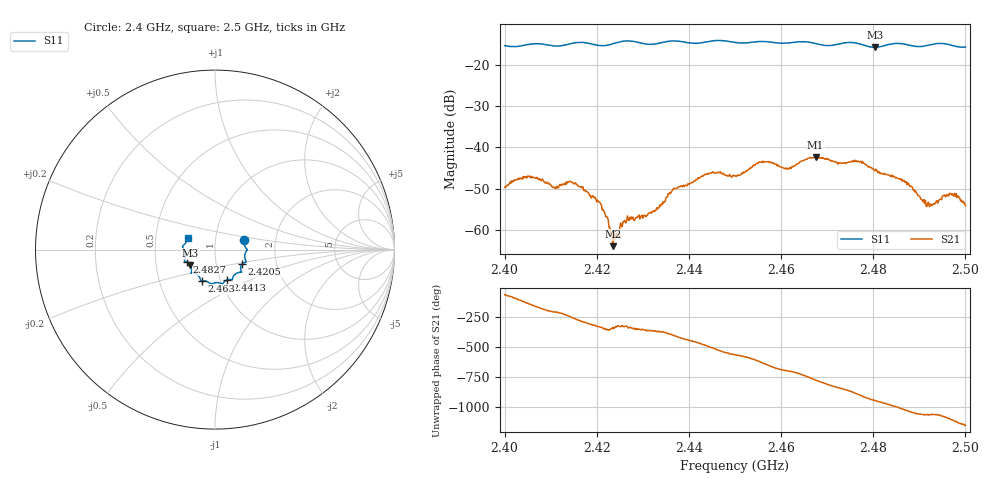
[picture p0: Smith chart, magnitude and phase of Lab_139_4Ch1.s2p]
# Hz S RI R 50
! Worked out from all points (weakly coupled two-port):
!   601 points, 2.4 GHz to 2.5 GHz, reference 50 ohm
!   highest |S21| = -42.30 dB at 2.4675 GHz (marker M1); lowest = -63.9 dB at 2.4235 GHz (marker M2)
!   lowest |S11| = -15.7 dB at 2.4803 GHz (marker M3), VSWR 1.39, Z = 37.4 - j6.8 ohm
!   |S11| at or under -10 dB: start of sweep to end of sweep
!   S12 and S22 are empty: the file has one direction only
!   S11 on the Smith chart (normalised r, x): 2.4 GHz: 1.38, +0.15; 2.4205 GHz: 1.34, -0.22; 2.4413 GHz: 1.08, -0.38; 2.463 GHz: 0.82, -0.29; 2.4827 GHz: 0.72, -0.11; 2.5 GHz: 0.73, +0.10
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2.4e9  0.1628 0.0524  0.00144 -0.00295  0 0  0 0
2.4055e9  0.178 0.00233  -0.00345 -0.00259  0 0  0 0
2.416667e9  0.1739 -0.0697  0.000866 0.00324  0 0  0 0
2.4205e9  0.1514 -0.0809  0.00197 0.000954  0 0  0 0
2.4235e9  0.1428 -0.1099  0.00059 0.000239  0 0  0 0
2.426167e9  0.1487 -0.1257  0.00109 0.000633  0 0  0 0
2.433333e9  0.1002 -0.1519  0.00182 -0.000321  0 0  0 0
2.436667e9  0.0974 -0.169  0.00229 -0.00224  0 0  0 0
2.441333e9  0.0675 -0.1693  -0.000568 -0.0039  0 0  0 0
2.445e9  0.0438 -0.19  -0.0042 -0.00252  0 0  0 0
2.45e9  0.0245 -0.1853  -0.00406 0.00196  0 0  0 0
2.4555e9  -0.0185 -0.1912  -0.000433 0.00665  0 0  0 0
2.463e9  -0.0724 -0.1736  0.00599 0.000572  0 0  0 0
2.466667e9  -0.0811 -0.1672  0.00534 -0.00523  0 0  0 0
2.4675e9  -0.0826 -0.1614  0.00406 -0.00651  0 0  0 0
2.480333e9  -0.1371 -0.0885  -0.00349 0.00388  0 0  0 0
2.482667e9  -0.1573 -0.0709  -0.00123 0.00452  0 0  0 0
2.483333e9  -0.1625 -0.0683  -0.000761 0.00456  0 0  0 0
2.487167e9  -0.1677 -0.0553  0.0025 0.00292  0 0  0 0
2.492e9  -0.173 0.00157  0.00214 0.000345  0 0  0 0
2.496833e9  -0.1717 0.0274  0.00246 -0.00122  0 0  0 0
2.5e9  -0.1519 0.064  0.000463 -0.00191  0 0  0 0
